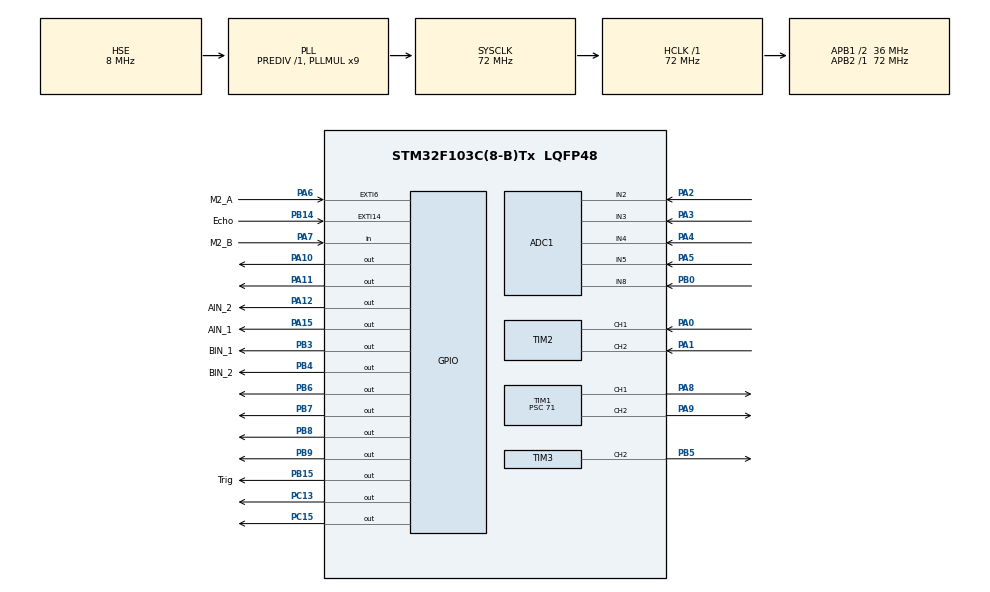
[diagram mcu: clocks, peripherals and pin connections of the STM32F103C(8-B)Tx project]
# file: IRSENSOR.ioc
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ADC1.Channel-0\#ChannelRegularConversion=ADC_CHANNEL_2
ADC1.Channel-1\#ChannelRegularConversion=ADC_CHANNEL_3
ADC1.Channel-2\#ChannelRegularConversion=ADC_CHANNEL_4
ADC1.Channel-3\#ChannelRegularConversion=ADC_CHANNEL_5
ADC1.Channel-4\#ChannelRegularConversion=ADC_CHANNEL_8
ADC1.ContinuousConvMode=DISABLE
ADC1.NbrOfConversion=5
ADC1.NbrOfConversionFlag=1
ADC1.Rank-0\#ChannelRegularConversion=1
ADC1.Rank-1\#ChannelRegularConversion=2
ADC1.Rank-2\#ChannelRegularConversion=3
ADC1.Rank-3\#ChannelRegularConversion=4
ADC1.Rank-4\#ChannelRegularConversion=5
ADC1.SamplingTime-0\#ChannelRegularConversion=ADC_SAMPLETIME_239CYCLES_5
ADC1.SamplingTime-1\#ChannelRegularConversion=ADC_SAMPLETIME_239CYCLES_5
ADC1.SamplingTime-2\#ChannelRegularConversion=ADC_SAMPLETIME_239CYCLES_5
ADC1.SamplingTime-3\#ChannelRegularConversion=ADC_SAMPLETIME_239CYCLES_5
ADC1.SamplingTime-4\#ChannelRegularConversion=ADC_SAMPLETIME_239CYCLES_5
ADC1.master=1
Dma.ADC1.0.Direction=DMA_PERIPH_TO_MEMORY
Dma.ADC1.0.Instance=DMA1_Channel1
Dma.ADC1.0.MemDataAlignment=DMA_MDATAALIGN_HALFWORD
Dma.ADC1.0.MemInc=DMA_MINC_ENABLE
Dma.ADC1.0.Mode=DMA_CIRCULAR
Dma.ADC1.0.PeriphDataAlignment=DMA_PDATAALIGN_HALFWORD
Dma.ADC1.0.PeriphInc=DMA_PINC_DISABLE
Dma.ADC1.0.Priority=DMA_PRIORITY_LOW
Dma.Request0=ADC1
Mcu.Family=STM32F1
Mcu.Name=STM32F103C(8-B)Tx
Mcu.Package=LQFP48
NVIC.DMA1_Channel1_IRQn=true\:0\:0\:false\:false\:true\:false\:true\:true
NVIC.EXTI15_10_IRQn=true\:2\:0\:true\:false\:true\:true\:true\:true
NVIC.EXTI9_5_IRQn=true\:1\:0\:true\:false\:true\:true\:true\:true
NVIC.PriorityGroup=NVIC_PRIORITYGROUP_4
NVIC.RCC_IRQn=true\:0\:0\:false\:false\:true\:true\:false\:true
NVIC.TIM2_IRQn=true\:0\:0\:false\:false\:true\:true\:true\:true
PA0-WKUP.GPIO_PuPd=GPIO_PULLUP
PA0-WKUP.Signal=S_TIM2_CH1_ETR
PA1.GPIO_PuPd=GPIO_PULLUP
PA1.Signal=S_TIM2_CH2
PA10.Signal=GPIO_Output
PA11.Signal=GPIO_Output
PA12.GPIO_Label=AIN_2
PA12.Signal=GPIO_Output
PA13.Mode=Serial_Wire
PA13.Signal=SYS_JTMS-SWDIO
PA14.Mode=Serial_Wire
PA14.Signal=SYS_JTCK-SWCLK
PA15.GPIO_Label=AIN_1
PA15.Signal=GPIO_Output
PA2.Signal=ADCx_IN2
PA3.Signal=ADCx_IN3
PA4.Signal=ADCx_IN4
PA5.Signal=ADCx_IN5
PA6.GPIO_Label=M2_A
PA6.GPIO_PuPd=GPIO_PULLDOWN
PA6.Signal=GPXTI6
PA7.GPIO_Label=M2_B
PA7.GPIO_PuPd=GPIO_PULLDOWN
PA7.Signal=GPIO_Input
PA8.Signal=S_TIM1_CH1
PA9.Signal=S_TIM1_CH2
PB0.Signal=ADCx_IN8
PB14.GPIO_Label=Echo
PB14.GPIO_ModeDefaultEXTI=GPIO_MODE_IT_RISING_FALLING
PB14.GPIO_PuPd=GPIO_PULLDOWN
PB14.Signal=GPXTI14
PB15.GPIO_Label=Trig
PB15.Signal=GPIO_Output
PB3.GPIO_Label=BIN_1
PB3.Signal=GPIO_Output
PB4.GPIO_Label=BIN_2
PB4.Signal=GPIO_Output
PB5.Signal=S_TIM3_CH2
PB6.Signal=GPIO_Output
PB7.Signal=GPIO_Output
PB8.Signal=GPIO_Output
PB9.Signal=GPIO_Output
PC13-TAMPER-RTC.Signal=GPIO_Output
PC15-OSC32_OUT.Signal=GPIO_Output
PD0-OSC_IN.Mode=HSE-External-Oscillator
PD0-OSC_IN.Signal=RCC_OSC_IN
PD1-OSC_OUT.Mode=HSE-External-Oscillator
PD1-OSC_OUT.Signal=RCC_OSC_OUT
ProjectManager.HeapSize=0x200
ProjectManager.StackSize=0x400
ProjectManager.TargetToolchain=MDK-ARM V5
RCC.ADCPresc=RCC_ADCPCLK2_DIV6
RCC.AHBFreq_Value=72000000
RCC.APB1CLKDivider=RCC_HCLK_DIV2
RCC.APB1Freq_Value=36000000
RCC.APB1TimFreq_Value=72000000
RCC.APB2Freq_Value=72000000
RCC.APB2TimFreq_Value=72000000
RCC.HCLKFreq_Value=72000000
RCC.PLLMUL=RCC_PLL_MUL9
RCC.PLLSourceVirtual=RCC_PLLSOURCE_HSE
RCC.SYSCLKFreq_VALUE=72000000
RCC.SYSCLKSource=RCC_SYSCLKSOURCE_PLLCLK
RCC.USBFreq_Value=72000000
SH.ADCx_IN2.0=ADC1_IN2,IN2
SH.ADCx_IN3.0=ADC1_IN3,IN3
SH.ADCx_IN4.0=ADC1_IN4,IN4
SH.ADCx_IN5.0=ADC1_IN5,IN5
SH.ADCx_IN8.0=ADC1_IN8,IN8
SH.S_TIM1_CH1.0=TIM1_CH1,PWM Generation1 CH1
SH.S_TIM1_CH2.0=TIM1_CH2,PWM Generation2 CH2
SH.S_TIM2_CH1_ETR.0=TIM2_CH1,Encoder_Interface
SH.S_TIM2_CH2.0=TIM2_CH2,Encoder_Interface
SH.S_TIM3_CH2.0=TIM3_CH2,PWM Generation2 CH2
TIM1.Channel-PWM\ Generation1\ CH1=TIM_CHANNEL_1
TIM1.Channel-PWM\ Generation2\ CH2=TIM_CHANNEL_2
TIM1.Period=99
TIM1.Prescaler=71
TIM2.EncoderMode=TIM_ENCODERMODE_TI12
TIM3.Channel-PWM\ Generation2\ CH2=TIM_CHANNEL_2
TIM3.Period=199
TIM3.Prescaler=7199
TIM4.Prescaler=71
VP_TIM1_VS_ClockSourceINT.Mode=Internal
VP_TIM3_VS_ClockSourceINT.Mode=Internal
VP_TIM4_VS_ClockSourceINT.Mode=Internal
board=custom

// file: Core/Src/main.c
/* USER CODE BEGIN Header */
/**
  ******************************************************************************
  * @file           : main.c
  * @brief          : Main program body
  ******************************************************************************
  * @attention
  *
  * Copyright (c) 2022 STMicroelectronics.
  * All rights reserved.
  *
  * This software is licensed under terms that can be found in the LICENSE file
  * in the root directory of this software component.
  * If no LICENSE file comes with this software, it is provided AS-IS.
  *
  ******************************************************************************
  */
/* USER CODE END Header */
#include "main.h"

/* USER CODE BEGIN Includes */
#include "math.h"
#include "stdio.h"
/* USER CODE END Includes */

/* USER CODE BEGIN PD */
#define sensorCount 5
#define maxValue 1000
/*Configure GPIO pins : Line_2_Pin Line_3_Pin Line_4_Pin Line_5_Pin
                           M2_B_Pin */

  /*Configure GPIO pin : M2_A_Pin */
  //M2_A_Pin/M2_A_GPIO_Port

  /*Configure GPIO pin : Echo_Pin */
  //Echo_Pin/Echo_GPIO_Port

  /*Configure GPIO pins : Trig_Pin BIN_2_Pin */
  //Trig_Pin|BIN_2_Pin;

  /*Configure GPIO pins : AIN_2_Pin AIN_1_Pin */
  //AIN_2_Pin|AIN_1_Pin;

  /*Configure GPIO pin : BIN_1_Pin */
  //BIN_1_Pin/ BIN_1_GPIO_Port

  /*Configure GPIO pin : Line_1_Pin */
  //Line_1_Pin/ Line_1_GPIO_Port
/* USER CODE END PD */

 ADC_HandleTypeDef hadc1;
DMA_HandleTypeDef hdma_adc1;

TIM_HandleTypeDef htim1;
TIM_HandleTypeDef htim2;
TIM_HandleTypeDef htim3;
TIM_HandleTypeDef htim4;

/* USER CODE BEGIN PV */
uint16_t val1 = 0;	// Counter value when ultrasonic generates wave
uint16_t val2 = 0;	// Counter value when sensor receive echo wave
uint16_t dis = 0;		// Raw distance
int is_dis_unread = 1;
uint16_t dis_final; // Distance after filter
int count_filter = 0;
uint32_t sum, mean, std;
int k, num, size = 5; // constances for filter sensitive
uint16_t dis_arr[10];
int32_t temp;
/* ----------------------------------------------*/

// Robot parameter

float b=168;    //khoang cach giua hai banh xe
float r=32.5;  //Ban kinh banh xe
float d=185.0;    //Khoang cach giua tam hai banh xe va
float bl=26;   //Do dai duong line
float vr = 850; //Toc do du kien

int id;

	// Motor 1
int32_t time_1, now_1;
int32_t delta_1;
int16_t count_1;
int32_t pre_count_1;
float w_1;					// RPM 1
int pwm_1;

	// Motor 2
uint32_t time_2, count_2, now_2; int16_t count_pre = 0; int16_t count_now = 0;
int32_t delta_2;
float w_2;					// RPM 2
int dir_2, pwm_2;

// PID he thong
//float kp = 0.12,ki=0.0, kd = 0.05;  //PID v = 0.2m/s t= 0.025 ****
float kp = 0.03,ki=0.004, kd = 5
	; //P 0.06,D 4.2 is temporary good
  //PID v = 0.2m/s t= 0.025
//float kp = 0.25,ki=0.06, kd = 0.04;  //PID v = 0.8m/s t= 0.025
float e2 =0,sum_e2=0,last_e2=0;
float w1_ref, w2_ref;
float pi=3.14;
//PID motor
float kp1 = 0.042, ki1 = 1.678 , kd1 = 0;
float kp2 = 0.042, ki2 =1.678, kd2 = 0;
float er_1, er_2;
float sum_er_1=0, sum_er_2=0;
int id;
int pwm_max = 100;
float samp_t = 0.02;
int turn_left = 0;
	// Servo
int pos, pwm;
// Lyapunov

float k2 = 1.2, k3 = 1;
float e3 = 0;
float v = 200;
/* ----------------------------------------------*/

// IR Sensor variables

/* ----------------------------------------------*/
uint16_t sensorValues[sensorCount];
float y[sensorCount];
/* --------------------CALIB LAN 1---------------*/
float sensorMaxCalib[sensorCount]={3488.07,3442.84,3613.55,3482.51,3563.02};
float sensorMinCalib[sensorCount]={1598.63,1538.70,2119.90,1423.57,1729.37};
float sensorMinValue = 1682.03;
float gain[sensorCount]={0.972,0.964,1.229,0.892,1.001};
/* --------------------CALIB LAN 2---------------*/
//float sensorMaxCalib[sensorCount]={3467.708,3523.66,3637.598,3546.236,3465.299};
//float sensorMinCalib[sensorCount]={1309.464,1375.44,1971.779,1260.745,1488.556};
//float sensorMinValue = 1480.027;
//float gain[sensorCount]={0.947,0.953,1.229,0.895,1.038};
uint16_t sensorPins[sensorCount] = {GPIO_PIN_2,GPIO_PIN_3,GPIO_PIN_4,GPIO_PIN_5,GPIO_PIN_0};
float position;
/* USER CODE END PV */

void SystemClock_Config(void);
static void MX_GPIO_Init(void);
static void MX_TIM1_Init(void);
static void MX_TIM2_Init(void);
static void MX_DMA_Init(void);
static void MX_TIM4_Init(void);
static void MX_ADC1_Init(void);
static void MX_TIM3_Init(void);
/* USER CODE BEGIN PFP */
// Ultrasonic sensor function
void delay(uint32_t time);
void delay_us(uint32_t us);
void trig_hc04(void);
void read_hc04(void);
void filter(void);
void turn_sg90(int pos);
void read_speed_1(void);
void read_speed_2(void);
/* ----------------------------------------------*/
/* USER CODE END PFP */

/* USER CODE BEGIN 0 */
void delay_us (uint32_t us)
{
	__HAL_TIM_SET_COUNTER(&htim1,0);  // set the counter value a 0
	while (__HAL_TIM_GET_COUNTER(&htim1) < us);  // wait for the counter to reach the us input in the parameter
}
// Servo function
void turn_sg90(int pos){
		pwm = (int)((1+pos/180.0)*10);
    __HAL_TIM_SetCompare(&htim3, TIM_CHANNEL_2, pwm);
}
/* ----------------------------------------------*/

// Ultrasonic sensor function
void trig_hc04(){
//	__HAL_TIM_SET_COUNTER(&htim1, 0);
	HAL_GPIO_WritePin(Trig_GPIO_Port, Trig_Pin, 1);
//	__HAL_TIM_SET_COUNTER(&htim1, 0);
//	while (__HAL_TIM_GET_COUNTER(&htim1) < 10);
	delay_us(10);
	HAL_GPIO_WritePin(Trig_GPIO_Port, Trig_Pin, 0);
//	__HAL_TIM_SET_COUNTER(&htim4, 0);
}

void read_hc04(){
	dis = (val2 - val1) * 0.034/2;
	dis_arr[count_filter] = dis;
	count_filter++;
	if (count_filter >= size){
		count_filter = 0;
		filter();
	}
}

void filter(){
	sum = 0; std = 0;
	// Calculate sum, mean
	for(int i = 0; i < size; i++){
		sum += dis_arr[i];
	}
	mean = sum /size;

	// Calculate standard deviation
	for(int i = 0; i < size; i++){
		std = (dis_arr[i] - mean)*(dis_arr[i] - mean) + std;
	}
	std = sqrt(std/size);

	// Filter Outlier
	sum = 0; num = 0;
	for(int i = 0; i < size; i++){
		if ((dis_arr[i] - mean)*(dis_arr[i] - mean) > pow(std,2)){
			sum += dis_arr[i];
			num ++;
		}
	}
	if (num == 0){
		num = 1;
	}
	else{
		dis_final = (sum / num);
	}
}
/* ----------------------------------------------*/

// Motor function
void read_speed_1(){
	//now_1 = HAL_GetTick();
	delta_1 = HAL_GetTick() - time_1;
	count_1 = (int16_t)__HAL_TIM_GET_COUNTER(&htim2);

	w_1 = -count_1*1000.0*60/(4*374*delta_1);
	__HAL_TIM_SET_COUNTER(&htim2, 0);
	//pre_count_1 =__HAL_TIM_GET_COUNTER(&htim2) ;
	time_1 = HAL_GetTick();
}

void read_speed_2(){
	delta_2 = HAL_GetTick() - time_2;
	count_now = count_2 - count_pre;
	w_2 = (float)count_now*1000*60/(delta_2*374);
	count_pre = count_2;
	time_2 = HAL_GetTick();
}

void pid_motor_1(float v1, float v1_ref){
	er_1 = v1_ref - v1;
	sum_er_1 += er_1*samp_t;
	//d_er = (er - pre_er_1)/samp_t;
	pwm_1 =(int)(kp1 * er_1 + ki1 * sum_er_1);
	//pre_er_1 = er_1;
	if (pwm_1 > pwm_max)
		pwm_1= pwm_max;
	else if (pwm_1 < 0)
		pwm_1= 0;
}

void pid_motor_2(float v2, float v2_ref){
	er_2 = v2_ref - v2;
	sum_er_2 += er_2*samp_t;
//	d_er = (er - pre_er_2)/samp_t;
	pwm_2 = (uint32_t)kp2 * er_2 + ki2 * sum_er_2;
	//pre_er_2 = er_2;
	if (pwm_2 > pwm_max)
		pwm_2= pwm_max;
	else if (pwm_2 < 0)
		pwm_2= 0;
}

/* ----------------------------------------------*/

/* ----------------------------------------------*/

int read_linesensor(){
	HAL_ADC_Start_DMA(&hadc1,(uint32_t *)sensorValues,sensorCount);
	int i;
	for (i=0;i<sensorCount;i++)
	{
		if(sensorValues[i]>sensorMaxCalib[i])sensorValues[i]=sensorMaxCalib[i];
		if(sensorValues[i]<sensorMinCalib[i])sensorValues[i]=sensorMinCalib[i];
		y[i]=sensorMinValue+gain[i]*(sensorValues[i]-sensorMinCalib[i]);
	}
	position = (200*y[0]+100*y[1]+0*y[2]-100*y[3]-200*y[4])/(y[0]+y[1]+y[2]+y[3]+y[4]);
	return position;
}

int PID(float position){
	e2= 0.0-position;
	sum_e2 = sum_e2 + e2;

	float P = kp*e2;
	float I = ki*sum_e2;
	float D = kd*(e2 - last_e2);
	float w = P+I+D;
	w2_ref = (1.0/r)*(vr+b/2.0*w)*(60.0/(2*pi));
	w1_ref = (1.0/r)*(vr-b/2.0*w)*(60.0/(2*pi));
	if (w1_ref>250)w1_ref = 250;
	if (w2_ref>250)w2_ref = 250;
	if (w1_ref<0)w1_ref = 0;
	if (w2_ref<0)w2_ref = 0;
	last_e2=e2;
}

int Tracking_control(float position){
	e2= 0.0-position;
	e3 = atan((e2-last_e2)/(v*samp_t));
	v = vr*cos(e3);
	float w = k2*vr*e2+k3*sin(e3);
	w2_ref = (1.0/r)*(v+b/2.0*w)*(60.0/(2*pi));
	w1_ref = (1.0/r)*(v-b/2.0*w)*(60.0/(2*pi));
	if (w1_ref>250)w1_ref = 250;
	if (w2_ref>250)w2_ref = 250;
	if (w1_ref<0)w1_ref = 0;
	if (w2_ref<0)w2_ref = 0;
	last_e2=e2;

}
/* USER CODE END 0 */

int main(void)
{

  /* MCU Configuration------------------------------------------
																																--------------*/

  /* Reset of all peripherals, Initializes the Flash interface and the Systick. */
  HAL_Init();

  /* Configure the system clock */
  SystemClock_Config();

  /* USER CODE BEGIN SysInit */
  __HAL_RCC_AFIO_CLK_ENABLE();
  __HAL_AFIO_REMAP_SWJ_NONJTRST();
  AFIO_MAPR_SWJ_CFG_JTAGDISABLE_Pos;
  /* USER CODE END SysInit */

  /* Initialize all configured peripherals */
  MX_GPIO_Init();
  MX_TIM1_Init();
  MX_TIM2_Init();
  MX_DMA_Init();
  MX_TIM4_Init();
  MX_ADC1_Init();
  MX_TIM3_Init();
  /* USER CODE BEGIN 2 */
	HAL_TIM_Base_Start(&htim1);
  HAL_TIM_Base_Start(&htim2);
  HAL_TIM_Base_Start(&htim3);
  HAL_TIM_Base_Start(&htim4);

  HAL_TIM_Encoder_Start(&htim2, TIM_CHANNEL_1);
	HAL_TIM_Encoder_Start(&htim2, TIM_CHANNEL_2);
  HAL_TIM_PWM_Start(&htim1, TIM_CHANNEL_1);
  HAL_TIM_PWM_Start(&htim1, TIM_CHANNEL_2);
  HAL_TIM_PWM_Start(&htim3, TIM_CHANNEL_2);
//  HAL_ADC_Start_IT(&hadc1);
		HAL_GPIO_WritePin(GPIOB,GPIO_PIN_8, 1);
  	HAL_GPIO_WritePin(GPIOB,GPIO_PIN_9, 0);
		HAL_GPIO_WritePin(GPIOB,GPIO_PIN_6, 0);
  	HAL_GPIO_WritePin(GPIOB,GPIO_PIN_7, 1);
  /* USER CODE END 2 */

  /* Infinite loop */
  /* USER CODE BEGIN WHILE */
  while (1)
  {
		read_linesensor();

			if ((y[1]>3000 && y[2]>3000 && y[3]>2800)||(y[1]>2300&&y[2]>3000&&y[3]>3000))
			{
				pwm_1 = 0;
				pwm_2 = 0;
				__HAL_TIM_SetCompare(&htim1, TIM_CHANNEL_2, pwm_1);
				__HAL_TIM_SetCompare(&htim1, TIM_CHANNEL_1, pwm_2);
						//HAL_Delay(800);
						turn_sg90(0);
						HAL_Delay(800);
						trig_hc04();
						read_hc04();
						turn_sg90(90);
						HAL_Delay(500);
						if (dis>7 &&dis<80){
							pwm_1 = 49;
							pwm_2 = 69;
							__HAL_TIM_SetCompare(&htim1, TIM_CHANNEL_2, pwm_1);
							__HAL_TIM_SetCompare(&htim1, TIM_CHANNEL_1, pwm_2);
								HAL_Delay(500);
							dis = 0;
						}
						else {
							pwm_1 = 69;
							pwm_2 = 49;
							__HAL_TIM_SetCompare(&htim1, TIM_CHANNEL_2, pwm_1);
							__HAL_TIM_SetCompare(&htim1, TIM_CHANNEL_1, pwm_2);
							HAL_Delay(500);
							dis = 0;
						}
			}
			if (y[0]<3000&&y[1]<3000&&y[2]<3000&&y[3]<3000&&y[4]<3000){
							pwm_1 = 0;
							pwm_2 = 0;
						__HAL_TIM_SetCompare(&htim1, TIM_CHANNEL_2, pwm_1);
						__HAL_TIM_SetCompare(&htim1, TIM_CHANNEL_1, pwm_2);
					}
			else
			{
				PID(position);
				// PID motor 1 ( motor on the right)
				pid_motor_1(w_1,w1_ref);
				// PID motor 2 ( motor on the left)
				pid_motor_2(w_2,w2_ref);
				// Set pwm motor 1 ( motor on the right)
				__HAL_TIM_SetCompare(&htim1, TIM_CHANNEL_2, pwm_1);
				// Set pwm motor 2 ( motor on the left)
				__HAL_TIM_SetCompare(&htim1, TIM_CHANNEL_1, pwm_2);
			}

//			else
//			{
//				PID(position);
//				// PID motor 1 ( motor on the right)
//				pid_motor_1(w_1,w1_ref);
//				// PID motor 2 ( motor on the left)
//				pid_motor_2(w_2,w2_ref);
//				// Set pwm motor 1 ( motor on the right)
//				__HAL_TIM_SetCompare(&htim1, TIM_CHANNEL_2, pwm_1);
//				// Set pwm motor 2 ( motor on the left)
//				__HAL_TIM_SetCompare(&htim1, TIM_CHANNEL_1, pwm_2);

//			}
				HAL_Delay(19);
				read_speed_1();
				read_speed_2();
				HAL_GPIO_TogglePin(GPIOC, GPIO_PIN_13);

    /* USER CODE END WHILE */

  }
}

void SystemClock_Config(void)
{
  RCC_OscInitTypeDef RCC_OscInitStruct = {0};
  RCC_ClkInitTypeDef RCC_ClkInitStruct = {0};
  RCC_PeriphCLKInitTypeDef PeriphClkInit = {0};

  /** Initializes the RCC Oscillators according to the specified parameters
  * in the RCC_OscInitTypeDef structure.
  */
  RCC_OscInitStruct.OscillatorType = RCC_OSCILLATORTYPE_HSE;
  RCC_OscInitStruct.HSEState = RCC_HSE_ON;
  RCC_OscInitStruct.HSEPredivValue = RCC_HSE_PREDIV_DIV1;
  RCC_OscInitStruct.HSIState = RCC_HSI_ON;
  RCC_OscInitStruct.PLL.PLLState = RCC_PLL_ON;
  RCC_OscInitStruct.PLL.PLLSource = RCC_PLLSOURCE_HSE;
  RCC_OscInitStruct.PLL.PLLMUL = RCC_PLL_MUL9;
  if (HAL_RCC_OscConfig(&RCC_OscInitStruct) != HAL_OK)
  {
    Error_Handler();
  }

  /** Initializes the CPU, AHB and APB buses clocks
  */
  RCC_ClkInitStruct.ClockType = RCC_CLOCKTYPE_HCLK|RCC_CLOCKTYPE_SYSCLK
                              |RCC_CLOCKTYPE_PCLK1|RCC_CLOCKTYPE_PCLK2;
  RCC_ClkInitStruct.SYSCLKSource = RCC_SYSCLKSOURCE_PLLCLK;
  RCC_ClkInitStruct.AHBCLKDivider = RCC_SYSCLK_DIV1;
  RCC_ClkInitStruct.APB1CLKDivider = RCC_HCLK_DIV2;
  RCC_ClkInitStruct.APB2CLKDivider = RCC_HCLK_DIV1;

  if (HAL_RCC_ClockConfig(&RCC_ClkInitStruct, FLASH_LATENCY_2) != HAL_OK)
  {
    Error_Handler();
  }
  PeriphClkInit.PeriphClockSelection = RCC_PERIPHCLK_ADC;
  PeriphClkInit.AdcClockSelection = RCC_ADCPCLK2_DIV6;
  if (HAL_RCCEx_PeriphCLKConfig(&PeriphClkInit) != HAL_OK)
  {
    Error_Handler();
  }
}

static void MX_ADC1_Init(void)
{

  ADC_ChannelConfTypeDef sConfig = {0};

  /** Common config
  */
  hadc1.Instance = ADC1;
  hadc1.Init.ScanConvMode = ADC_SCAN_ENABLE;
  hadc1.Init.ContinuousConvMode = ENABLE;
  hadc1.Init.DiscontinuousConvMode = DISABLE;
  hadc1.Init.ExternalTrigConv = ADC_SOFTWARE_START;
  hadc1.Init.DataAlign = ADC_DATAALIGN_RIGHT;
  hadc1.Init.NbrOfConversion = 5;
  if (HAL_ADC_Init(&hadc1) != HAL_OK)
  {
    Error_Handler();
  }

  /** Configure Regular Channel
  */
  sConfig.Channel = ADC_CHANNEL_2;
  sConfig.Rank = ADC_REGULAR_RANK_1;
  sConfig.SamplingTime = ADC_SAMPLETIME_239CYCLES_5;
  if (HAL_ADC_ConfigChannel(&hadc1, &sConfig) != HAL_OK)
  {
    Error_Handler();
  }

  /** Configure Regular Channel
  */
  sConfig.Channel = ADC_CHANNEL_3;
  sConfig.Rank = ADC_REGULAR_RANK_2;
  if (HAL_ADC_ConfigChannel(&hadc1, &sConfig) != HAL_OK)
  {
    Error_Handler();
  }

  /** Configure Regular Channel
  */
  sConfig.Channel = ADC_CHANNEL_4;
  sConfig.Rank = ADC_REGULAR_RANK_3;
  if (HAL_ADC_ConfigChannel(&hadc1, &sConfig) != HAL_OK)
  {
    Error_Handler();
  }

  /** Configure Regular Channel
  */
  sConfig.Channel = ADC_CHANNEL_5;
  sConfig.Rank = ADC_REGULAR_RANK_4;
  if (HAL_ADC_ConfigChannel(&hadc1, &sConfig) != HAL_OK)
  {
    Error_Handler();
  }

  /** Configure Regular Channel
  */
  sConfig.Channel = ADC_CHANNEL_8;
  sConfig.Rank = ADC_REGULAR_RANK_5;
  if (HAL_ADC_ConfigChannel(&hadc1, &sConfig) != HAL_OK)
  {
    Error_Handler();
  }

}

static void MX_TIM1_Init(void)
{

  TIM_ClockConfigTypeDef sClockSourceConfig = {0};
  TIM_MasterConfigTypeDef sMasterConfig = {0};
  TIM_OC_InitTypeDef sConfigOC = {0};
  TIM_BreakDeadTimeConfigTypeDef sBreakDeadTimeConfig = {0};

  htim1.Instance = TIM1;
  htim1.Init.Prescaler = 71;
  htim1.Init.CounterMode = TIM_COUNTERMODE_UP;
  htim1.Init.Period = 99;
  htim1.Init.ClockDivision = TIM_CLOCKDIVISION_DIV1;
  htim1.Init.RepetitionCounter = 0;
  htim1.Init.AutoReloadPreload = TIM_AUTORELOAD_PRELOAD_DISABLE;
  if (HAL_TIM_Base_Init(&htim1) != HAL_OK)
  {
    Error_Handler();
  }
  sClockSourceConfig.ClockSource = TIM_CLOCKSOURCE_INTERNAL;
  if (HAL_TIM_ConfigClockSource(&htim1, &sClockSourceConfig) != HAL_OK)
  {
    Error_Handler();
  }
  if (HAL_TIM_PWM_Init(&htim1) != HAL_OK)
  {
    Error_Handler();
  }
  sMasterConfig.MasterOutputTrigger = TIM_TRGO_RESET;
  sMasterConfig.MasterSlaveMode = TIM_MASTERSLAVEMODE_DISABLE;
  if (HAL_TIMEx_MasterConfigSynchronization(&htim1, &sMasterConfig) != HAL_OK)
  {
    Error_Handler();
  }
  sConfigOC.OCMode = TIM_OCMODE_PWM1;
  sConfigOC.Pulse = 0;
  sConfigOC.OCPolarity = TIM_OCPOLARITY_HIGH;
  sConfigOC.OCNPolarity = TIM_OCNPOLARITY_HIGH;
  sConfigOC.OCFastMode = TIM_OCFAST_DISABLE;
  sConfigOC.OCIdleState = TIM_OCIDLESTATE_RESET;
  sConfigOC.OCNIdleState = TIM_OCNIDLESTATE_RESET;
  if (HAL_TIM_PWM_ConfigChannel(&htim1, &sConfigOC, TIM_CHANNEL_1) != HAL_OK)
  {
    Error_Handler();
  }
  if (HAL_TIM_PWM_ConfigChannel(&htim1, &sConfigOC, TIM_CHANNEL_2) != HAL_OK)
  {
    Error_Handler();
  }
  sBreakDeadTimeConfig.OffStateRunMode = TIM_OSSR_DISABLE;
  sBreakDeadTimeConfig.OffStateIDLEMode = TIM_OSSI_DISABLE;
  sBreakDeadTimeConfig.LockLevel = TIM_LOCKLEVEL_OFF;
  sBreakDeadTimeConfig.DeadTime = 0;
  sBreakDeadTimeConfig.BreakState = TIM_BREAK_DISABLE;
  sBreakDeadTimeConfig.BreakPolarity = TIM_BREAKPOLARITY_HIGH;
  sBreakDeadTimeConfig.AutomaticOutput = TIM_AUTOMATICOUTPUT_DISABLE;
  if (HAL_TIMEx_ConfigBreakDeadTime(&htim1, &sBreakDeadTimeConfig) != HAL_OK)
  {
    Error_Handler();
  }
  HAL_TIM_MspPostInit(&htim1);

}

static void MX_TIM2_Init(void)
{

  TIM_Encoder_InitTypeDef sConfig = {0};
  TIM_MasterConfigTypeDef sMasterConfig = {0};

  htim2.Instance = TIM2;
  htim2.Init.Prescaler = 0;
  htim2.Init.CounterMode = TIM_COUNTERMODE_UP;
  htim2.Init.Period = 65535;
  htim2.Init.ClockDivision = TIM_CLOCKDIVISION_DIV1;
  htim2.Init.AutoReloadPreload = TIM_AUTORELOAD_PRELOAD_DISABLE;
  sConfig.EncoderMode = TIM_ENCODERMODE_TI12;
  sConfig.IC1Polarity = TIM_ICPOLARITY_RISING;
  sConfig.IC1Selection = TIM_ICSELECTION_DIRECTTI;
  sConfig.IC1Prescaler = TIM_ICPSC_DIV1;
  sConfig.IC1Filter = 0;
  sConfig.IC2Polarity = TIM_ICPOLARITY_RISING;
  sConfig.IC2Selection = TIM_ICSELECTION_DIRECTTI;
  sConfig.IC2Prescaler = TIM_ICPSC_DIV1;
  sConfig.IC2Filter = 0;
  if (HAL_TIM_Encoder_Init(&htim2, &sConfig) != HAL_OK)
  {
    Error_Handler();
  }
  sMasterConfig.MasterOutputTrigger = TIM_TRGO_RESET;
  sMasterConfig.MasterSlaveMode = TIM_MASTERSLAVEMODE_DISABLE;
  if (HAL_TIMEx_MasterConfigSynchronization(&htim2, &sMasterConfig) != HAL_OK)
  {
    Error_Handler();
  }

}

static void MX_TIM3_Init(void)
{

  TIM_ClockConfigTypeDef sClockSourceConfig = {0};
  TIM_MasterConfigTypeDef sMasterConfig = {0};
  TIM_OC_InitTypeDef sConfigOC = {0};

  htim3.Instance = TIM3;
  htim3.Init.Prescaler = 7199;
  htim3.Init.CounterMode = TIM_COUNTERMODE_UP;
  htim3.Init.Period = 199;
  htim3.Init.ClockDivision = TIM_CLOCKDIVISION_DIV1;
  htim3.Init.AutoReloadPreload = TIM_AUTORELOAD_PRELOAD_DISABLE;
  if (HAL_TIM_Base_Init(&htim3) != HAL_OK)
  {
    Error_Handler();
  }
  sClockSourceConfig.ClockSource = TIM_CLOCKSOURCE_INTERNAL;
  if (HAL_TIM_ConfigClockSource(&htim3, &sClockSourceConfig) != HAL_OK)
  {
    Error_Handler();
  }
  if (HAL_TIM_PWM_Init(&htim3) != HAL_OK)
  {
    Error_Handler();
  }
  sMasterConfig.MasterOutputTrigger = TIM_TRGO_RESET;
  sMasterConfig.MasterSlaveMode = TIM_MASTERSLAVEMODE_DISABLE;
  if (HAL_TIMEx_MasterConfigSynchronization(&htim3, &sMasterConfig) != HAL_OK)
  {
    Error_Handler();
  }
  sConfigOC.OCMode = TIM_OCMODE_PWM1;
  sConfigOC.Pulse = 0;
  sConfigOC.OCPolarity = TIM_OCPOLARITY_HIGH;
  sConfigOC.OCFastMode = TIM_OCFAST_DISABLE;
  if (HAL_TIM_PWM_ConfigChannel(&htim3, &sConfigOC, TIM_CHANNEL_2) != HAL_OK)
  {
    Error_Handler();
  }
  HAL_TIM_MspPostInit(&htim3);

}

static void MX_TIM4_Init(void)
{

  TIM_ClockConfigTypeDef sClockSourceConfig = {0};
  TIM_MasterConfigTypeDef sMasterConfig = {0};

  htim4.Instance = TIM4;
  htim4.Init.Prescaler = 71;
  htim4.Init.CounterMode = TIM_COUNTERMODE_UP;
  htim4.Init.Period = 65535;
  htim4.Init.ClockDivision = TIM_CLOCKDIVISION_DIV1;
  htim4.Init.AutoReloadPreload = TIM_AUTORELOAD_PRELOAD_DISABLE;
  if (HAL_TIM_Base_Init(&htim4) != HAL_OK)
  {
    Error_Handler();
  }
  sClockSourceConfig.ClockSource = TIM_CLOCKSOURCE_INTERNAL;
  if (HAL_TIM_ConfigClockSource(&htim4, &sClockSourceConfig) != HAL_OK)
  {
    Error_Handler();
  }
  sMasterConfig.MasterOutputTrigger = TIM_TRGO_RESET;
  sMasterConfig.MasterSlaveMode = TIM_MASTERSLAVEMODE_DISABLE;
  if (HAL_TIMEx_MasterConfigSynchronization(&htim4, &sMasterConfig) != HAL_OK)
  {
    Error_Handler();
  }

}

static void MX_DMA_Init(void)
{

  /* DMA controller clock enable */
  __HAL_RCC_DMA1_CLK_ENABLE();

  /* DMA interrupt init */
  /* DMA1_Channel1_IRQn interrupt configuration */
  HAL_NVIC_SetPriority(DMA1_Channel1_IRQn, 0, 0);
  HAL_NVIC_EnableIRQ(DMA1_Channel1_IRQn);

}

static void MX_GPIO_Init(void)
{
  GPIO_InitTypeDef GPIO_InitStruct = {0};

  /* GPIO Ports Clock Enable */
  __HAL_RCC_GPIOC_CLK_ENABLE();
  __HAL_RCC_GPIOD_CLK_ENABLE();
  __HAL_RCC_GPIOA_CLK_ENABLE();
  __HAL_RCC_GPIOB_CLK_ENABLE();

  /*Configure GPIO pin Output Level */
  HAL_GPIO_WritePin(GPIOC, GPIO_PIN_13|GPIO_PIN_15, GPIO_PIN_RESET);

  /*Configure GPIO pin Output Level */
  HAL_GPIO_WritePin(GPIOB, Trig_Pin|BIN_1_Pin|BIN_2_Pin|GPIO_PIN_6
                          |GPIO_PIN_7|GPIO_PIN_8|GPIO_PIN_9, GPIO_PIN_RESET);

  /*Configure GPIO pin Output Level */
  HAL_GPIO_WritePin(GPIOA, GPIO_PIN_10|GPIO_PIN_11|AIN_2_Pin|AIN_1_Pin, GPIO_PIN_RESET);

  /*Configure GPIO pins : PC13 PC15 */
  GPIO_InitStruct.Pin = GPIO_PIN_13|GPIO_PIN_15;
  GPIO_InitStruct.Mode = GPIO_MODE_OUTPUT_PP;
  GPIO_InitStruct.Pull = GPIO_NOPULL;
  GPIO_InitStruct.Speed = GPIO_SPEED_FREQ_LOW;
  HAL_GPIO_Init(GPIOC, &GPIO_InitStruct);

  /*Configure GPIO pin : M2_A_Pin */
  GPIO_InitStruct.Pin = M2_A_Pin;
  GPIO_InitStruct.Mode = GPIO_MODE_IT_RISING;
  GPIO_InitStruct.Pull = GPIO_PULLDOWN;
  HAL_GPIO_Init(M2_A_GPIO_Port, &GPIO_InitStruct);

  /*Configure GPIO pin : M2_B_Pin */
  GPIO_InitStruct.Pin = M2_B_Pin;
  GPIO_InitStruct.Mode = GPIO_MODE_INPUT;
  GPIO_InitStruct.Pull = GPIO_PULLDOWN;
  HAL_GPIO_Init(M2_B_GPIO_Port, &GPIO_InitStruct);

  /*Configure GPIO pin : Echo_Pin */
  GPIO_InitStruct.Pin = Echo_Pin;
  GPIO_InitStruct.Mode = GPIO_MODE_IT_RISING_FALLING;
  GPIO_InitStruct.Pull = GPIO_PULLDOWN;
  HAL_GPIO_Init(Echo_GPIO_Port, &GPIO_InitStruct);

  /*Configure GPIO pins : Trig_Pin BIN_1_Pin BIN_2_Pin PB6
                           PB7 PB8 PB9 */
  GPIO_InitStruct.Pin = Trig_Pin|BIN_1_Pin|BIN_2_Pin|GPIO_PIN_6
                          |GPIO_PIN_7|GPIO_PIN_8|GPIO_PIN_9;
  GPIO_InitStruct.Mode = GPIO_MODE_OUTPUT_PP;
  GPIO_InitStruct.Pull = GPIO_NOPULL;
  GPIO_InitStruct.Speed = GPIO_SPEED_FREQ_LOW;
  HAL_GPIO_Init(GPIOB, &GPIO_InitStruct);

  /*Configure GPIO pins : PA10 PA11 AIN_2_Pin AIN_1_Pin */
  GPIO_InitStruct.Pin = GPIO_PIN_10|GPIO_PIN_11|AIN_2_Pin|AIN_1_Pin;
  GPIO_InitStruct.Mode = GPIO_MODE_OUTPUT_PP;
  GPIO_InitStruct.Pull = GPIO_NOPULL;
  GPIO_InitStruct.Speed = GPIO_SPEED_FREQ_LOW;
  HAL_GPIO_Init(GPIOA, &GPIO_InitStruct);

  /* EXTI interrupt init*/
  HAL_NVIC_SetPriority(EXTI9_5_IRQn, 1, 0);
  HAL_NVIC_EnableIRQ(EXTI9_5_IRQn);

  HAL_NVIC_SetPriority(EXTI15_10_IRQn, 2, 0);
  HAL_NVIC_EnableIRQ(EXTI15_10_IRQn);

}

/* USER CODE BEGIN 4 */
void HAL_GPIO_EXTI_Callback(uint16_t GPIO_Pin){
	if (GPIO_Pin == Echo_Pin){
		if (HAL_GPIO_ReadPin(Echo_GPIO_Port, Echo_Pin) == 1){
			val1 = __HAL_TIM_GET_COUNTER(&htim4);
		}
		else if (HAL_GPIO_ReadPin(Echo_GPIO_Port, Echo_Pin) == 0){
			val2 = __HAL_TIM_GET_COUNTER(&htim4);
		}
	}
	if (GPIO_Pin == M2_A_Pin){
		count_2 = count_2 + 1;
		if (HAL_GPIO_ReadPin(M2_B_GPIO_Port, M2_B_Pin) == 1){
			dir_2 = 1;
		}
		else{
			dir_2 = -1;
		}
	}
}
/* USER CODE END 4 */

void Error_Handler(void)
{
  __disable_irq();
  while (1)
  {
  }
}
